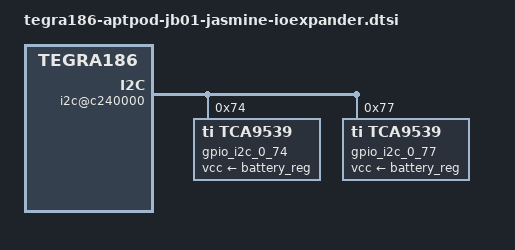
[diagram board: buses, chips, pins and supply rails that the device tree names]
/delete-node/ &gpio_i2c_0_74;
/delete-node/ &gpio_i2c_0_77;

/ {
	i2c@c240000 {
		gpio_i2c_0_74: gpio@74 {
			compatible = "ti,tca9539";
			reg = <0x74>;
			gpio-controller;
			#gpio-cells = <2>;
			vcc-supply = <&battery_reg>;
		};
		gpio@74 {
			touch-rails {
				gpio-hog;
				gpios = <1 0 2 0>;
				output-high;
				label = "touch-rail-1", "touch-rail-2";
			};
		};
		gpio_i2c_0_77: gpio@77 {
			compatible = "ti,tca9539";
			reg = <0x77>;
			gpio-controller;
			#gpio-cells = <2>;
			vcc-supply = <&battery_reg>;
		};
		gpio@77 {
			lcd-bias-rails {
				gpio-hog;
				gpios = <4 0>;
				output-high;
				label = "lcd-bias-en-rail";
			};
		};
	};
};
